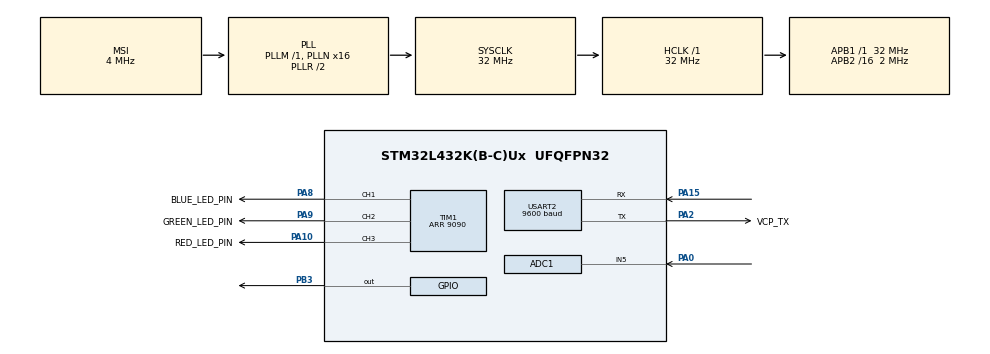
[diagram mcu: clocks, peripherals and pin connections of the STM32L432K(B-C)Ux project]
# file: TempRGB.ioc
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ADC1.Channel-0\#ChannelRegularConversion=ADC_CHANNEL_5
ADC1.NbrOfConversionFlag=1
ADC1.OffsetNumber-0\#ChannelRegularConversion=ADC_OFFSET_NONE
ADC1.Rank-0\#ChannelRegularConversion=1
ADC1.SamplingTime-0\#ChannelRegularConversion=ADC_SAMPLETIME_2CYCLES_5
ADC1.master=1
Mcu.Family=STM32L4
Mcu.Name=STM32L432K(B-C)Ux
Mcu.Package=UFQFPN32
NVIC.PriorityGroup=NVIC_PRIORITYGROUP_4
NVIC.TIM1_TRG_COM_IRQn=true\:0\:0\:false\:false\:true\:true
PA0.Signal=ADCx_IN5
PA10.GPIO_Label=RED_LED_PIN
PA10.GPIO_ModeDefaultPP=GPIO_MODE_AF_PP
PA10.GPIO_PuPd=GPIO_NOPULL
PA10.GPIO_Speed=GPIO_SPEED_FREQ_LOW
PA10.Signal=S_TIM1_CH3
PA13\ (JTMS-SWDIO).GPIO_Label=SWDIO
PA13\ (JTMS-SWDIO).Signal=SYS_JTMS-SWDIO
PA14\ (JTCK-SWCLK).GPIO_Label=SWCLK
PA14\ (JTCK-SWCLK).Signal=SYS_JTCK-SWCLK
PA15\ (JTDI).Mode=Asynchronous
PA15\ (JTDI).Signal=USART2_RX
PA2.GPIO_Label=VCP_TX
PA2.Mode=Asynchronous
PA2.Signal=USART2_TX
PA8.GPIO_Label=BLUE_LED_PIN
PA8.GPIO_ModeDefaultPP=GPIO_MODE_AF_PP
PA8.GPIO_PuPd=GPIO_NOPULL
PA8.GPIO_Speed=GPIO_SPEED_FREQ_LOW
PA8.Signal=S_TIM1_CH1
PA9.GPIO_Label=GREEN_LED_PIN
PA9.GPIO_ModeDefaultPP=GPIO_MODE_AF_PP
PA9.GPIO_PuPd=GPIO_NOPULL
PA9.GPIO_Speed=GPIO_SPEED_FREQ_LOW
PA9.Signal=S_TIM1_CH2
PB3\ (JTDO-TRACESWO).Signal=GPIO_Output
PC14-OSC32_IN\ (PC14).Signal=RCC_OSC32_IN
PC15-OSC32_OUT\ (PC15).Signal=RCC_OSC32_OUT
ProjectManager.HeapSize=0x200
ProjectManager.StackSize=0x400
ProjectManager.TargetToolchain=TrueSTUDIO
RCC.ADCFreq_Value=32000000
RCC.AHBFreq_Value=32000000
RCC.APB1Freq_Value=32000000
RCC.APB1TimFreq_Value=32000000
RCC.APB2CLKDivider=RCC_HCLK_DIV16
RCC.APB2Freq_Value=2000000
RCC.APB2TimFreq_Value=4000000
RCC.CortexFreq_Value=32000000
RCC.HCLKFreq_Value=32000000
RCC.HSE_VALUE=8000000
RCC.HSI16_VALUE=16000000
RCC.HSI48_VALUE=48000000
RCC.HSI_VALUE=16000000
RCC.LSE_VALUE=32768
RCC.MSI_VALUE=4000000
RCC.PLLMUL=RCC_PLLMUL_4
RCC.PLLN=16
RCC.PLLSAI1N=16
RCC.SYSCLKFreq_VALUE=32000000
RCC.SYSCLKSource=RCC_SYSCLKSOURCE_PLLCLK
RCC.USBFreq_Value=32000000
RCC.VCOOutputFreq_Value=64000000
SH.ADCx_IN5.0=ADC1_IN5,IN5-Single-Ended
SH.S_TIM1_CH1.0=TIM1_CH1,PWM Generation1 CH1
SH.S_TIM1_CH2.0=TIM1_CH2,PWM Generation2 CH2
SH.S_TIM1_CH3.0=TIM1_CH3,PWM Generation3 CH3
TIM1.Channel-PWM\ Generation1\ CH1=TIM_CHANNEL_1
TIM1.Channel-PWM\ Generation2\ CH2=TIM_CHANNEL_2
TIM1.Channel-PWM\ Generation3\ CH3=TIM_CHANNEL_3
TIM1.Period=9090
USART2.BaudRate=9600
USART2.VirtualMode-Asynchronous=VM_ASYNC
USART2.WordLength=WORDLENGTH_8B
VP_TIM1_VS_ClockSourceINT.Mode=Internal
board=NUCLEO-L432KC

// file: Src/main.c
/*******************************************************************************
  * File Name          : main.c
  * Description        : Uses the MCP7000A temperature sensor and
  * 					 displays the current temperature in the top right corner
  * 					 of the LCD display.
  * 					 Illuminate RGB LED with the specified colour for the given temperature ranges.
  * 					 	-15 C  to 5.0 C    blue
  * 					 	5.1 C to 15 C   yellow
  * 					 	15.1 C to 25 C orange
  * 					 	Above 25.1 C   red
  *
  * Author:              Lisler Thomson Pulikkottil
  * Date:                July 16, 2018
  ******************************************************************************
  ** This notice applies to any and all portions of this file
  * that are not between comment pairs USER CODE BEGIN and
  * USER CODE END. Other portions of this file, whether
  * inserted by the user or by software development tools
  * are owned by their respective copyright owners.
  *
  * COPYRIGHT(c) 2018 STMicroelectronics
  *
  * Redistribution and use in source and binary forms, with or without modification,
  * are permitted provided that the following conditions are met:
  *   1. Redistributions of source code must retain the above copyright notice,
  *      this list of conditions and the following disclaimer.
  *   2. Redistributions in binary form must reproduce the above copyright notice,
  *      this list of conditions and the following disclaimer in the documentation
  *      and/or other materials provided with the distribution.
  *   3. Neither the name of STMicroelectronics nor the names of its contributors
  *      may be used to endorse or promote products derived from this software
  *      without specific prior written permission.
  *
  * THIS SOFTWARE IS PROVIDED BY THE COPYRIGHT HOLDERS AND CONTRIBUTORS "AS IS"
  * AND ANY EXPRESS OR IMPLIED WARRANTIES, INCLUDING, BUT NOT LIMITED TO, THE
  * IMPLIED WARRANTIES OF MERCHANTABILITY AND FITNESS FOR A PARTICULAR PURPOSE ARE
  * DISCLAIMED. IN NO EVENT SHALL THE COPYRIGHT HOLDER OR CONTRIBUTORS BE LIABLE
  * FOR ANY DIRECT, INDIRECT, INCIDENTAL, SPECIAL, EXEMPLARY, OR CONSEQUENTIAL
  * DAMAGES (INCLUDING, BUT NOT LIMITED TO, PROCUREMENT OF SUBSTITUTE GOODS OR
  * SERVICES; LOSS OF USE, DATA, OR PROFITS; OR BUSINESS INTERRUPTION) HOWEVER
  * CAUSED AND ON ANY THEORY OF LIABILITY, WHETHER IN CONTRACT, STRICT LIABILITY,
  * OR TORT (INCLUDING NEGLIGENCE OR OTHERWISE) ARISING IN ANY WAY OUT OF THE USE
  * OF THIS SOFTWARE, EVEN IF ADVISED OF THE POSSIBILITY OF SUCH DAMAGE.
  *
  ******************************************************************************
  */
#include "main.h"
#include "stm32l4xx_hal.h"

ADC_HandleTypeDef hadc1;

TIM_HandleTypeDef htim1;

UART_HandleTypeDef huart2;

/* USER CODE BEGIN PV */
/* Private variables ---------------------------------------------------------*/

/* USER CODE END PV */

void SystemClock_Config(void);
static void MX_GPIO_Init(void);
static void MX_USART2_UART_Init(void);
static void MX_TIM1_Init(void);
static void MX_ADC1_Init(void);

void HAL_TIM_MspPostInit(TIM_HandleTypeDef *htim);

/* USER CODE BEGIN PFP */
/* Private function prototypes -----------------------------------------------*/
void   	IHD44780_Init();
void 	HD44780_PutStr(char *str);
extern void HD44780_Init(void);
extern void HD44780_ClrScr(void);
extern void HD44780_GotoXY(unsigned char, unsigned char);
/* USER CODE END PFP */

/* USER CODE BEGIN 0 */

/* FUNCTION      : getADCConvertedValue
 * DESCRIPTION   : This function starts the ADC and returns the Digital Value
 * 				   from ADC.
 *
 * PARAMETERS    :
 *   			   hadc1 : ADC handle
 *
 * RETURNS       :
 *  			   uhADCxConvertedValue : ADC converted Value.
 *************************************************************************/
volatile uint16_t getADCConvertedValue(ADC_HandleTypeDef* hadc1)
{
	 __IO uint16_t uhADCxConvertedValue = 0; //_IO is a macro

	if (HAL_ADC_Start(&*hadc1) != HAL_OK)
	{
		/* Start Conversation Error */
		printf("HAL_ADC_Start Error\r\n");
	}

	if (HAL_ADC_PollForConversion(&*hadc1, 10) != HAL_OK)
	{
		printf("HAL_ADC_PollForConversion Error\r\n");
	}
	else
	{
		/* ADC conversion completed */
		/*##-5- Get the converted value of regular channel  ########################*/
		uhADCxConvertedValue = HAL_ADC_GetValue(&*hadc1);
	}

	return uhADCxConvertedValue;
}
/* FUNCTION      : convertRange
 * DESCRIPTION   :
 *  			   Converts a given value from one range of values to another range of values
 * PARAMETERS    :
 *  			   val 		   : Value that need to be converted
 *  			   minOfRange1 : lowest value of range 1
 *  			   maxOfRange1 : highest value of range 1
 *  			   minOfRange2 : lowest value of range 2
 *  			   maxOfRange2 : highest value of range 2
 *
 * RETURNS       :
 *  			   newValueInSecRange: Value in Second range
 *************************************************************************/
float convertRange(float val, float minOfRange1, float maxOfRange1, float minOfRange2, float maxOfRange2)
{
	float newValueInSecRange =
			(val - minOfRange1) * (maxOfRange2 - minOfRange2) / (maxOfRange1 - minOfRange1) + minOfRange2;
	return newValueInSecRange;
}

/* FUNCTION      : setRGBColorForTim1Ch1toCh3
 * DESCRIPTION   : It sets up timer1 channel 1 to channel 3 in PWM to light up the LEDs
 * 				   depending on the brightness we want. 0 to 255 of any color is mapped to 0 to 9090
 * 				   of pulse to set the PWM.
 *
 * PARAMETERS    :
 *  			   red   : from 0 to 255
 *  			   green : from 0 to 255
 *  			   blue  : from 0 to 255
 * RETURNS       :
 *                 none
 *************************************************************************/
void setRGBColorForTim1Ch1toCh3(uint8_t red, uint8_t green, uint8_t blue)
{
	HAL_TIM_PWM_Stop(&htim1, TIM_CHANNEL_1);
	HAL_TIM_PWM_Stop(&htim1, TIM_CHANNEL_2);
	HAL_TIM_PWM_Stop(&htim1, TIM_CHANNEL_3);

	__HAL_TIM_SetCompare(&htim1, TIM_CHANNEL_1, convertRange(red, 0, 255, 0, 9090));
	// this macro sets the Capture/compare register of timer 1 channel 1 with value from convertRange()
	__HAL_TIM_SetCompare(&htim1, TIM_CHANNEL_2, convertRange(green, 0, 255, 0, 9090));
	// this macro sets the Capture/compare register of timer 1 channel 2 with value from convertRange()
	__HAL_TIM_SetCompare(&htim1, TIM_CHANNEL_3, convertRange(blue, 0, 255, 0, 9090));
	// this macro sets the Capture/compare register of timer 1 channel 3 with value from convertRange()

	HAL_TIM_PWM_Start(&htim1, TIM_CHANNEL_1);
	HAL_TIM_PWM_Start(&htim1, TIM_CHANNEL_2);
	HAL_TIM_PWM_Start(&htim1, TIM_CHANNEL_3);
}

/* USER CODE END 0 */

int main(void)
{

  /* MCU Configuration----------------------------------------------------------*/

  /* Reset of all peripherals, Initializes the Flash interface and the Systick. */
  HAL_Init();

  /* Configure the system clock */
  SystemClock_Config();

  /* Initialize all configured peripherals */
  MX_GPIO_Init();
  MX_USART2_UART_Init();
  MX_TIM1_Init();
  MX_ADC1_Init();
  /* USER CODE BEGIN 2 */

   HD44780_Init(); //LCD initialization

   /* USER CODE END 2 */

  /* Infinite loop */
 	while (1)
 	{

  /* USER CODE BEGIN 3 */
 		char stringTemperature[4] = {0};
 		float correspondingVoltADC = 0;
 		float tempInCelsius = 0;
 		int ADCConvertedValue = 0;

 		ADCConvertedValue = getADCConvertedValue(&hadc1);
 			// This function gets value from 12 bit ADC in PA0

 		printf("ADC 12bit Value: %i\r\n", ADCConvertedValue);

 		/* following code is used to convert the ADC value read into corresponding
 		 * voltage and then to corresponding temperature.
 		 ************************************************************************/
 		correspondingVoltADC = convertRange(ADCConvertedValue,0,4095,0,3.3); //to voltage
 		tempInCelsius = ((correspondingVoltADC) - 0.5)/0.01;    // to temperature
 															     //equation from MCP9700A datasheet P8
 		/******************************************************************************/

 		HD44780_GotoXY(10,0); // this sets the cursor on column 11 row 1
 							  // so that the temp is displayed on top right corner
 		sprintf(stringTemperature, "%.1f C", tempInCelsius);
 		HD44780_PutStr(stringTemperature);
 		HAL_Delay(500);
 		//prints the temperature to LCD

 		if(tempInCelsius >= -15 && tempInCelsius <= 5)
 		{
 					setRGBColorForTim1Ch1toCh3(0,0,255); 		//BLUE
 		}

 		if(tempInCelsius > 5 && tempInCelsius <= 15)
 		{
 					setRGBColorForTim1Ch1toCh3(255,50,0); 	//YELLOW
 		}												//Values found using trial and error method

 		if(tempInCelsius > 15 && tempInCelsius <= 25)
 		{
 					setRGBColorForTim1Ch1toCh3(165,10,0); 	//ORANGE
 		}												// Values found using trial and error method

 		if(tempInCelsius > 25)
 		{
 					setRGBColorForTim1Ch1toCh3(255,0,0); 		//RED
 		}

 	}
  /* USER CODE END 3 */

}

void SystemClock_Config(void)
{

  RCC_OscInitTypeDef RCC_OscInitStruct;
  RCC_ClkInitTypeDef RCC_ClkInitStruct;
  RCC_PeriphCLKInitTypeDef PeriphClkInit;

    /**Initializes the CPU, AHB and APB busses clocks
    */
  RCC_OscInitStruct.OscillatorType = RCC_OSCILLATORTYPE_MSI;
  RCC_OscInitStruct.MSIState = RCC_MSI_ON;
  RCC_OscInitStruct.MSICalibrationValue = 0;
  RCC_OscInitStruct.MSIClockRange = RCC_MSIRANGE_6;
  RCC_OscInitStruct.PLL.PLLState = RCC_PLL_ON;
  RCC_OscInitStruct.PLL.PLLSource = RCC_PLLSOURCE_MSI;
  RCC_OscInitStruct.PLL.PLLM = 1;
  RCC_OscInitStruct.PLL.PLLN = 16;
  RCC_OscInitStruct.PLL.PLLP = RCC_PLLP_DIV7;
  RCC_OscInitStruct.PLL.PLLQ = RCC_PLLQ_DIV2;
  RCC_OscInitStruct.PLL.PLLR = RCC_PLLR_DIV2;
  if (HAL_RCC_OscConfig(&RCC_OscInitStruct) != HAL_OK)
  {
    _Error_Handler(__FILE__, __LINE__);
  }

    /**Initializes the CPU, AHB and APB busses clocks
    */
  RCC_ClkInitStruct.ClockType = RCC_CLOCKTYPE_HCLK|RCC_CLOCKTYPE_SYSCLK
                              |RCC_CLOCKTYPE_PCLK1|RCC_CLOCKTYPE_PCLK2;
  RCC_ClkInitStruct.SYSCLKSource = RCC_SYSCLKSOURCE_PLLCLK;
  RCC_ClkInitStruct.AHBCLKDivider = RCC_SYSCLK_DIV1;
  RCC_ClkInitStruct.APB1CLKDivider = RCC_HCLK_DIV1;
  RCC_ClkInitStruct.APB2CLKDivider = RCC_HCLK_DIV16;

  if (HAL_RCC_ClockConfig(&RCC_ClkInitStruct, FLASH_LATENCY_1) != HAL_OK)
  {
    _Error_Handler(__FILE__, __LINE__);
  }

  PeriphClkInit.PeriphClockSelection = RCC_PERIPHCLK_USART2|RCC_PERIPHCLK_ADC;
  PeriphClkInit.Usart2ClockSelection = RCC_USART2CLKSOURCE_PCLK1;
  PeriphClkInit.AdcClockSelection = RCC_ADCCLKSOURCE_PLLSAI1;
  PeriphClkInit.PLLSAI1.PLLSAI1Source = RCC_PLLSOURCE_MSI;
  PeriphClkInit.PLLSAI1.PLLSAI1M = 1;
  PeriphClkInit.PLLSAI1.PLLSAI1N = 16;
  PeriphClkInit.PLLSAI1.PLLSAI1P = RCC_PLLP_DIV7;
  PeriphClkInit.PLLSAI1.PLLSAI1Q = RCC_PLLQ_DIV2;
  PeriphClkInit.PLLSAI1.PLLSAI1R = RCC_PLLR_DIV2;
  PeriphClkInit.PLLSAI1.PLLSAI1ClockOut = RCC_PLLSAI1_ADC1CLK;
  if (HAL_RCCEx_PeriphCLKConfig(&PeriphClkInit) != HAL_OK)
  {
    _Error_Handler(__FILE__, __LINE__);
  }

    /**Configure the main internal regulator output voltage
    */
  if (HAL_PWREx_ControlVoltageScaling(PWR_REGULATOR_VOLTAGE_SCALE1) != HAL_OK)
  {
    _Error_Handler(__FILE__, __LINE__);
  }

    /**Configure the Systick interrupt time
    */
  HAL_SYSTICK_Config(HAL_RCC_GetHCLKFreq()/1000);

    /**Configure the Systick
    */
  HAL_SYSTICK_CLKSourceConfig(SYSTICK_CLKSOURCE_HCLK);

  /* SysTick_IRQn interrupt configuration */
  HAL_NVIC_SetPriority(SysTick_IRQn, 0, 0);
}

/* ADC1 init function */
static void MX_ADC1_Init(void)
{

  ADC_ChannelConfTypeDef sConfig;

    /**Common config
    */
  hadc1.Instance = ADC1;
  hadc1.Init.ClockPrescaler = ADC_CLOCK_ASYNC_DIV1;
  hadc1.Init.Resolution = ADC_RESOLUTION_12B;
  hadc1.Init.DataAlign = ADC_DATAALIGN_RIGHT;
  hadc1.Init.ScanConvMode = ADC_SCAN_DISABLE;
  hadc1.Init.EOCSelection = ADC_EOC_SINGLE_CONV;
  hadc1.Init.LowPowerAutoWait = DISABLE;
  hadc1.Init.ContinuousConvMode = DISABLE;
  hadc1.Init.NbrOfConversion = 1;
  hadc1.Init.DiscontinuousConvMode = DISABLE;
  hadc1.Init.NbrOfDiscConversion = 1;
  hadc1.Init.ExternalTrigConv = ADC_SOFTWARE_START;
  hadc1.Init.ExternalTrigConvEdge = ADC_EXTERNALTRIGCONVEDGE_NONE;
  hadc1.Init.DMAContinuousRequests = DISABLE;
  hadc1.Init.Overrun = ADC_OVR_DATA_PRESERVED;
  hadc1.Init.OversamplingMode = DISABLE;
  if (HAL_ADC_Init(&hadc1) != HAL_OK)
  {
    _Error_Handler(__FILE__, __LINE__);
  }

    /**Configure Regular Channel
    */
  sConfig.Channel = ADC_CHANNEL_5;
  sConfig.Rank = ADC_REGULAR_RANK_1;
  sConfig.SamplingTime = ADC_SAMPLETIME_2CYCLES_5;
  sConfig.SingleDiff = ADC_SINGLE_ENDED;
  sConfig.OffsetNumber = ADC_OFFSET_NONE;
  sConfig.Offset = 0;
  if (HAL_ADC_ConfigChannel(&hadc1, &sConfig) != HAL_OK)
  {
    _Error_Handler(__FILE__, __LINE__);
  }

}

/* TIM1 init function */
static void MX_TIM1_Init(void)
{

  TIM_ClockConfigTypeDef sClockSourceConfig;
  TIM_MasterConfigTypeDef sMasterConfig;
  TIM_OC_InitTypeDef sConfigOC;
  TIM_BreakDeadTimeConfigTypeDef sBreakDeadTimeConfig;

  htim1.Instance = TIM1;
  htim1.Init.Prescaler = 0;
  htim1.Init.CounterMode = TIM_COUNTERMODE_UP;
  htim1.Init.Period = 9090;
  htim1.Init.ClockDivision = TIM_CLOCKDIVISION_DIV1;
  htim1.Init.RepetitionCounter = 0;
  htim1.Init.AutoReloadPreload = TIM_AUTORELOAD_PRELOAD_DISABLE;
  if (HAL_TIM_Base_Init(&htim1) != HAL_OK)
  {
    _Error_Handler(__FILE__, __LINE__);
  }

  sClockSourceConfig.ClockSource = TIM_CLOCKSOURCE_INTERNAL;
  if (HAL_TIM_ConfigClockSource(&htim1, &sClockSourceConfig) != HAL_OK)
  {
    _Error_Handler(__FILE__, __LINE__);
  }

  if (HAL_TIM_PWM_Init(&htim1) != HAL_OK)
  {
    _Error_Handler(__FILE__, __LINE__);
  }

  sMasterConfig.MasterOutputTrigger = TIM_TRGO_RESET;
  sMasterConfig.MasterOutputTrigger2 = TIM_TRGO2_RESET;
  sMasterConfig.MasterSlaveMode = TIM_MASTERSLAVEMODE_DISABLE;
  if (HAL_TIMEx_MasterConfigSynchronization(&htim1, &sMasterConfig) != HAL_OK)
  {
    _Error_Handler(__FILE__, __LINE__);
  }

  sConfigOC.OCMode = TIM_OCMODE_PWM1;
  sConfigOC.Pulse = 0;
  sConfigOC.OCPolarity = TIM_OCPOLARITY_HIGH;
  sConfigOC.OCNPolarity = TIM_OCNPOLARITY_HIGH;
  sConfigOC.OCFastMode = TIM_OCFAST_DISABLE;
  sConfigOC.OCIdleState = TIM_OCIDLESTATE_RESET;
  sConfigOC.OCNIdleState = TIM_OCNIDLESTATE_RESET;
  if (HAL_TIM_PWM_ConfigChannel(&htim1, &sConfigOC, TIM_CHANNEL_1) != HAL_OK)
  {
    _Error_Handler(__FILE__, __LINE__);
  }

  if (HAL_TIM_PWM_ConfigChannel(&htim1, &sConfigOC, TIM_CHANNEL_2) != HAL_OK)
  {
    _Error_Handler(__FILE__, __LINE__);
  }

  if (HAL_TIM_PWM_ConfigChannel(&htim1, &sConfigOC, TIM_CHANNEL_3) != HAL_OK)
  {
    _Error_Handler(__FILE__, __LINE__);
  }

  sBreakDeadTimeConfig.OffStateRunMode = TIM_OSSR_DISABLE;
  sBreakDeadTimeConfig.OffStateIDLEMode = TIM_OSSI_DISABLE;
  sBreakDeadTimeConfig.LockLevel = TIM_LOCKLEVEL_OFF;
  sBreakDeadTimeConfig.DeadTime = 0;
  sBreakDeadTimeConfig.BreakState = TIM_BREAK_DISABLE;
  sBreakDeadTimeConfig.BreakPolarity = TIM_BREAKPOLARITY_HIGH;
  sBreakDeadTimeConfig.BreakFilter = 0;
  sBreakDeadTimeConfig.Break2State = TIM_BREAK2_DISABLE;
  sBreakDeadTimeConfig.Break2Polarity = TIM_BREAK2POLARITY_HIGH;
  sBreakDeadTimeConfig.Break2Filter = 0;
  sBreakDeadTimeConfig.AutomaticOutput = TIM_AUTOMATICOUTPUT_DISABLE;
  if (HAL_TIMEx_ConfigBreakDeadTime(&htim1, &sBreakDeadTimeConfig) != HAL_OK)
  {
    _Error_Handler(__FILE__, __LINE__);
  }

  HAL_TIM_MspPostInit(&htim1);

}

/* USART2 init function */
static void MX_USART2_UART_Init(void)
{

  huart2.Instance = USART2;
  huart2.Init.BaudRate = 9600;
  huart2.Init.WordLength = UART_WORDLENGTH_8B;
  huart2.Init.StopBits = UART_STOPBITS_1;
  huart2.Init.Parity = UART_PARITY_NONE;
  huart2.Init.Mode = UART_MODE_TX_RX;
  huart2.Init.HwFlowCtl = UART_HWCONTROL_NONE;
  huart2.Init.OverSampling = UART_OVERSAMPLING_16;
  huart2.Init.OneBitSampling = UART_ONE_BIT_SAMPLE_DISABLE;
  huart2.AdvancedInit.AdvFeatureInit = UART_ADVFEATURE_NO_INIT;
  if (HAL_UART_Init(&huart2) != HAL_OK)
  {
    _Error_Handler(__FILE__, __LINE__);
  }

}

/** Configure pins as
        * Analog
        * Input
        * Output
        * EVENT_OUT
        * EXTI
*/
static void MX_GPIO_Init(void)
{

  GPIO_InitTypeDef GPIO_InitStruct;

  /* GPIO Ports Clock Enable */
  __HAL_RCC_GPIOC_CLK_ENABLE();
  __HAL_RCC_GPIOA_CLK_ENABLE();
  __HAL_RCC_GPIOB_CLK_ENABLE();

  /*Configure GPIO pin Output Level */
  HAL_GPIO_WritePin(GPIOB, GPIO_PIN_3, GPIO_PIN_RESET);

  /*Configure GPIO pin : PB3 */
  GPIO_InitStruct.Pin = GPIO_PIN_3;
  GPIO_InitStruct.Mode = GPIO_MODE_OUTPUT_PP;
  GPIO_InitStruct.Pull = GPIO_NOPULL;
  GPIO_InitStruct.Speed = GPIO_SPEED_FREQ_LOW;
  HAL_GPIO_Init(GPIOB, &GPIO_InitStruct);

}

void _Error_Handler(char *file, int line)
{
  while(1)
  {
  }
}

/************************ (C) COPYRIGHT STMicroelectronics *****END OF FILE****/
